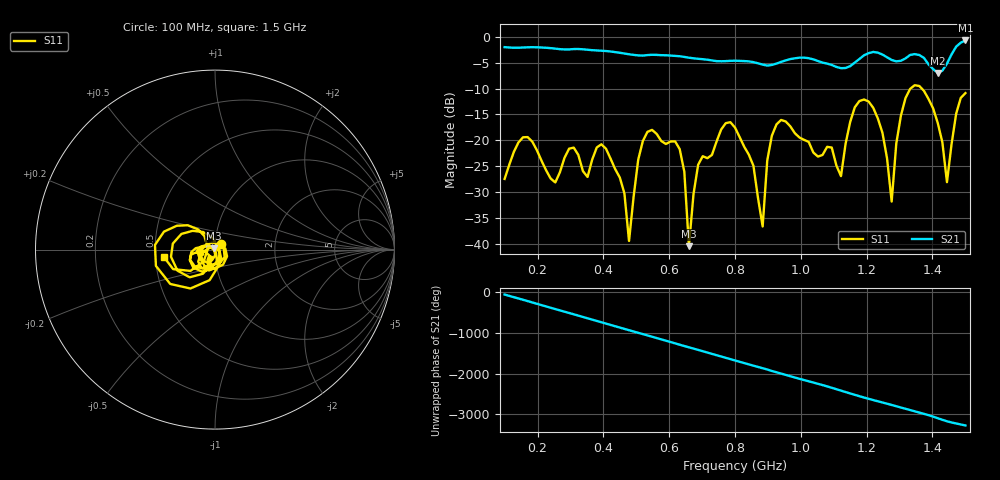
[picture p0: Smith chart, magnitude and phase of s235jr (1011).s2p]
! NanoVNA-App
! Date: 2025-09-25 15:12:02
! Start: 100MHz Stop: 1,5GHz Points: 101
! S-Parameter data: F S11 S21 S12 S22
# Hz S RI R 50
!  Frequency  S11_Real  S11_Imag  S21_Real  S21_Imag  S12_Real  S12_Imag  S22_Real  S22_Imag
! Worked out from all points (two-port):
!   101 points, 100 MHz to 1.5 GHz, reference 50 ohm
!   highest |S21| = -0.67 dB at 1.5 GHz (marker M1); lowest = -7.0 dB at 1.416 GHz (marker M2)
!   |S21| within 3 dB of the highest: start of sweep to 620.3 MHz; 1.189 GHz to 1.255 GHz (65.73 MHz wide, 5.38 % of centre) (the widest 2 of 4)
!   lowest |S11| = -40.5 dB at 660 MHz (marker M3), VSWR 1.02, Z = 49.3 + j0.649 ohm
!   |S11| at or under -10 dB: start of sweep to 1.333 GHz; 1.368 GHz to end of sweep
!   S12 and S22 are empty: the file has one direction only
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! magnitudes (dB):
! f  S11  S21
! 100 MHz  -27.5  -2.0
! 156 MHz  -19.4  -2.0
! 338 MHz  -26.0  -2.4
! 408 MHz  -21.6  -2.7
! 478 MHz  -39.5  -3.3
! 520 MHz  -20.1  -3.6
! 576 MHz  -20.1  -3.5
! 632 MHz  -21.7  -3.7
! 660 MHz  -40.5  -4.0
! 688 MHz  -24.7  -4.2
! 800 MHz  -17.5  -4.6
! 884 MHz  -36.7  -5.4
! 898 MHz  -23.9  -5.5
! 926 MHz  -16.9  -5.2
! 1.038 GHz  -22.4  -4.3
! 1.122 GHz  -26.9  -6.0
! 1.206 GHz  -12.5  -3.1
! 1.276 GHz  -31.9  -4.4
! 1.332 GHz  -10.1  -3.5
! 1.416 GHz  -16.6  -7.0
! 1.444 GHz  -28.1  -5.2
! 1.5 GHz  -10.9  -0.7
